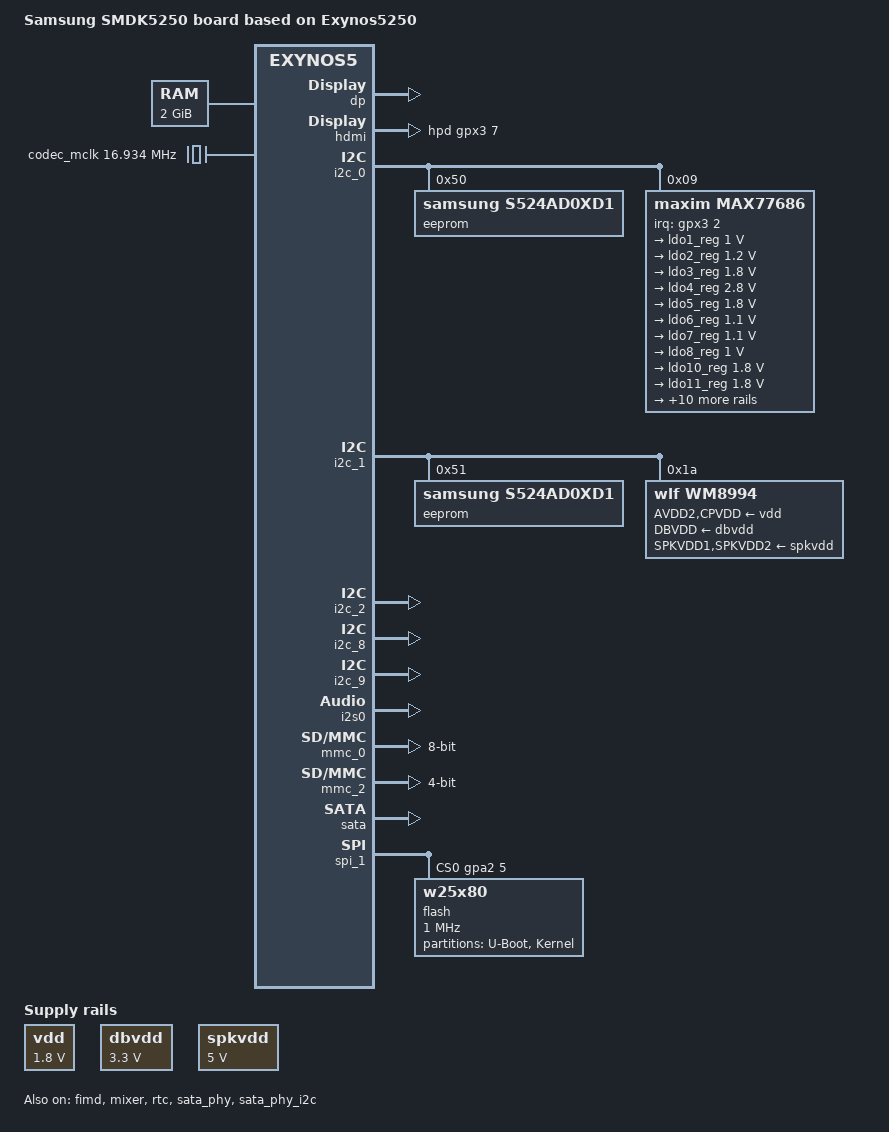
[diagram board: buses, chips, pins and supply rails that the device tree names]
// SPDX-License-Identifier: GPL-2.0
/*
 * Samsung SMDK5250 board device tree source
 *
 * Copyright (c) 2012 Samsung Electronics Co., Ltd.
 *		http://www.samsung.com
 */

/dts-v1/;
#include <dt-bindings/clock/maxim,max77686.h>
#include <dt-bindings/gpio/gpio.h>
#include <dt-bindings/interrupt-controller/irq.h>
#include "exynos5250.dtsi"

/ {
	model = "Samsung SMDK5250 board based on Exynos5250";
	compatible = "samsung,smdk5250", "samsung,exynos5250", "samsung,exynos5";

	aliases {
	};

	memory@40000000 {
		device_type = "memory";
		reg = <0x40000000 0x80000000>;
	};

	chosen {
		bootargs = "root=/dev/ram0 rw ramdisk=8192 initrd=0x41000000,8M init=/linuxrc";
		stdout-path = "serial2:115200n8";
	};

	vdd: fixed-regulator-vdd {
		compatible = "regulator-fixed";
		regulator-name = "vdd-supply";
		regulator-min-microvolt = <1800000>;
		regulator-max-microvolt = <1800000>;
		regulator-always-on;
	};

	dbvdd: fixed-regulator-dbvdd {
		compatible = "regulator-fixed";
		regulator-name = "dbvdd-supply";
		regulator-min-microvolt = <3300000>;
		regulator-max-microvolt = <3300000>;
		regulator-always-on;
	};

	spkvdd: fixed-regulator-spkvdd {
		compatible = "regulator-fixed";
		regulator-name = "spkvdd-supply";
		regulator-min-microvolt = <5000000>;
		regulator-max-microvolt = <5000000>;
		regulator-always-on;
	};

	sound {
		compatible = "samsung,smdk-wm8994";

		samsung,i2s-controller = <&i2s0>;
		samsung,audio-codec = <&wm8994>;
	};

	fixed-rate-clocks {
		xxti {
			compatible = "samsung,clock-xxti";
			clock-frequency = <24000000>;
		};

		codec_mclk: codec-mclk {
			compatible = "fixed-clock";
			#clock-cells = <0>;
			clock-frequency = <16934000>;
		};
	};
};

&cpu0 {
	cpu0-supply = <&buck2_reg>;
};

&dp {
	samsung,color-space = <0>;
	samsung,color-depth = <1>;
	samsung,link-rate = <0x0a>;
	samsung,lane-count = <4>;

	pinctrl-names = "default";
	pinctrl-0 = <&dp_hpd>;
	status = "okay";

	display-timings {
		native-mode = <&timing0>;

		timing0: timing {
			/* 1280x800 */
			clock-frequency = <50000>;
			hactive = <1280>;
			vactive = <800>;
			hfront-porch = <4>;
			hback-porch = <4>;
			hsync-len = <4>;
			vback-porch = <4>;
			vfront-porch = <4>;
			vsync-len = <4>;
		};
	};
};

&ehci {
	samsung,vbus-gpio = <&gpx2 6 GPIO_ACTIVE_HIGH>;
};

&fimd {
	status = "okay";
};

&hdmi {
	status = "okay";
	ddc = <&i2c_2>;
	hpd-gpios = <&gpx3 7 GPIO_ACTIVE_HIGH>;
	vdd-supply = <&ldo8_reg>;
	vdd_osc-supply = <&ldo10_reg>;
	vdd_pll-supply = <&ldo8_reg>;
};

&i2c_0 {
	status = "okay";
	samsung,i2c-sda-delay = <100>;
	samsung,i2c-max-bus-freq = <20000>;

	eeprom@50 {
		compatible = "samsung,s524ad0xd1", "atmel,24c128";
		reg = <0x50>;
	};

	max77686: pmic@9 {
		compatible = "maxim,max77686";
		reg = <0x09>;
		interrupt-parent = <&gpx3>;
		interrupts = <2 IRQ_TYPE_LEVEL_LOW>;
		pinctrl-names = "default";
		pinctrl-0 = <&max77686_irq>;
		#clock-cells = <1>;
		wakeup-source;

		voltage-regulators {
			ldo1_reg: LDO1 {
				regulator-name = "P1.0V_LDO_OUT1";
				regulator-min-microvolt = <1000000>;
				regulator-max-microvolt = <1000000>;
				regulator-always-on;
			};

			ldo2_reg: LDO2 {
				regulator-name = "P1.2V_LDO_OUT2";
				regulator-min-microvolt = <1200000>;
				regulator-max-microvolt = <1200000>;
				regulator-always-on;
			};

			ldo3_reg: LDO3 {
				regulator-name = "P1.8V_LDO_OUT3";
				regulator-min-microvolt = <1800000>;
				regulator-max-microvolt = <1800000>;
				regulator-always-on;
			};

			ldo4_reg: LDO4 {
				regulator-name = "P2.8V_LDO_OUT4";
				regulator-min-microvolt = <2800000>;
				regulator-max-microvolt = <2800000>;
			};

			ldo5_reg: LDO5 {
				regulator-name = "P1.8V_LDO_OUT5";
				regulator-min-microvolt = <1800000>;
				regulator-max-microvolt = <1800000>;
			};

			ldo6_reg: LDO6 {
				regulator-name = "P1.1V_LDO_OUT6";
				regulator-min-microvolt = <1100000>;
				regulator-max-microvolt = <1100000>;
				regulator-always-on;
			};

			ldo7_reg: LDO7 {
				regulator-name = "P1.1V_LDO_OUT7";
				regulator-min-microvolt = <1100000>;
				regulator-max-microvolt = <1100000>;
				regulator-always-on;
			};

			ldo8_reg: LDO8 {
				regulator-name = "P1.0V_LDO_OUT8";
				regulator-min-microvolt = <1000000>;
				regulator-max-microvolt = <1000000>;
			};

			ldo10_reg: LDO10 {
				regulator-name = "P1.8V_LDO_OUT10";
				regulator-min-microvolt = <1800000>;
				regulator-max-microvolt = <1800000>;
				regulator-always-on;
			};

			ldo11_reg: LDO11 {
				regulator-name = "P1.8V_LDO_OUT11";
				regulator-min-microvolt = <1800000>;
				regulator-max-microvolt = <1800000>;
			};

			ldo12_reg: LDO12 {
				regulator-name = "P3.0V_LDO_OUT12";
				regulator-min-microvolt = <3000000>;
				regulator-max-microvolt = <3000000>;
			};

			ldo13_reg: LDO13 {
				regulator-name = "P1.8V_LDO_OUT13";
				regulator-min-microvolt = <1800000>;
				regulator-max-microvolt = <1800000>;
			};

			ldo14_reg: LDO14 {
				regulator-name = "P1.8V_LDO_OUT14";
				regulator-min-microvolt = <1800000>;
				regulator-max-microvolt = <1800000>;
			};

			ldo15_reg: LDO15 {
				regulator-name = "P1.0V_LDO_OUT15";
				regulator-min-microvolt = <1000000>;
				regulator-max-microvolt = <1000000>;
			};

			ldo16_reg: LDO16 {
				regulator-name = "P1.8V_LDO_OUT16";
				regulator-min-microvolt = <1800000>;
				regulator-max-microvolt = <1800000>;
			};

			buck1_reg: BUCK1 {
				regulator-name = "vdd_mif";
				regulator-min-microvolt = <950000>;
				regulator-max-microvolt = <1300000>;
				regulator-always-on;
				regulator-boot-on;
			};

			buck2_reg: BUCK2 {
				regulator-name = "vdd_arm";
				regulator-min-microvolt = <850000>;
				regulator-max-microvolt = <1350000>;
				regulator-always-on;
				regulator-boot-on;
			};

			buck3_reg: BUCK3 {
				regulator-name = "vdd_int";
				regulator-min-microvolt = <900000>;
				regulator-max-microvolt = <1200000>;
				regulator-always-on;
				regulator-boot-on;
			};

			buck4_reg: BUCK4 {
				regulator-name = "vdd_g3d";
				regulator-min-microvolt = <850000>;
				regulator-max-microvolt = <1300000>;
				regulator-always-on;
				regulator-boot-on;
			};

			buck5_reg: BUCK5 {
				regulator-name = "P1.8V_BUCK_OUT5";
				regulator-min-microvolt = <1800000>;
				regulator-max-microvolt = <1800000>;
				regulator-always-on;
				regulator-boot-on;
			};
		};
	};
};

&i2c_1 {
	status = "okay";
	samsung,i2c-sda-delay = <100>;
	samsung,i2c-max-bus-freq = <20000>;

	eeprom@51 {
		compatible = "samsung,s524ad0xd1", "atmel,24c128";
		reg = <0x51>;
	};

	wm8994: audio-codec@1a {
		compatible = "wlf,wm8994";
		reg = <0x1a>;

		gpio-controller;
		#gpio-cells = <2>;

		clocks = <&codec_mclk>;
		clock-names = "MCLK1";

		AVDD2-supply = <&vdd>;
		CPVDD-supply = <&vdd>;
		DBVDD-supply = <&dbvdd>;
		SPKVDD1-supply = <&spkvdd>;
		SPKVDD2-supply = <&spkvdd>;
	};
};

&i2c_2 {
	status = "okay";
	/* used by HDMI DDC */
	samsung,i2c-sda-delay = <100>;
	samsung,i2c-max-bus-freq = <66000>;
};

&i2c_8 {
	status = "okay";
	/* used by HDMI PHY */
	samsung,i2c-sda-delay = <100>;
	samsung,i2c-max-bus-freq = <66000>;
};

&i2c_9 {
	status = "okay";
	samsung,i2c-sda-delay = <100>;
	samsung,i2c-max-bus-freq = <40000>;
};

&i2s0 {
	status = "okay";
};

&mixer {
	status = "okay";
};

&mmc_0 {
	status = "okay";
	broken-cd;
	card-detect-delay = <200>;
	samsung,dw-mshc-ciu-div = <3>;
	samsung,dw-mshc-sdr-timing = <2 3>;
	samsung,dw-mshc-ddr-timing = <1 2>;
	pinctrl-names = "default";
	pinctrl-0 = <&sd0_clk &sd0_cmd &sd0_bus4 &sd0_bus8>;
	bus-width = <8>;
	cap-mmc-highspeed;
};

&mmc_2 {
	status = "okay";
	card-detect-delay = <200>;
	samsung,dw-mshc-ciu-div = <3>;
	samsung,dw-mshc-sdr-timing = <2 3>;
	samsung,dw-mshc-ddr-timing = <1 2>;
	pinctrl-names = "default";
	pinctrl-0 = <&sd2_clk &sd2_cmd &sd2_cd &sd2_bus4>;
	bus-width = <4>;
	disable-wp;
	cap-sd-highspeed;
};

&rtc {
	status = "okay";
	clocks = <&clock CLK_RTC>, <&max77686 MAX77686_CLK_AP>;
	clock-names = "rtc", "rtc_src";
};

&sata {
	status = "okay";
};

&sata_phy {
	status = "okay";
	samsung,exynos-sataphy-i2c-phandle = <&sata_phy_i2c>;
};

&sata_phy_i2c {
	status = "okay";
};

&spi_1 {
	status = "okay";
	cs-gpios = <&gpa2 5 GPIO_ACTIVE_HIGH>;

	flash@0 {
		#address-cells = <1>;
		#size-cells = <1>;
		compatible = "w25x80";
		reg = <0>;
		spi-max-frequency = <1000000>;

		controller-data {
			samsung,spi-feedback-delay = <0>;
		};

		partition@0 {
			label = "U-Boot";
			reg = <0x0 0x40000>;
			read-only;
		};

		partition@40000 {
			label = "Kernel";
			reg = <0x40000 0xc0000>;
		};
	};
};

&pinctrl_0 {
	max77686_irq: max77686-irq {
		samsung,pins = "gpx3-2";
		samsung,pin-function = <EXYNOS_PIN_FUNC_F>;
		samsung,pin-pud = <EXYNOS_PIN_PULL_NONE>;
		samsung,pin-drv = <EXYNOS4_PIN_DRV_LV1>;
	};
};
